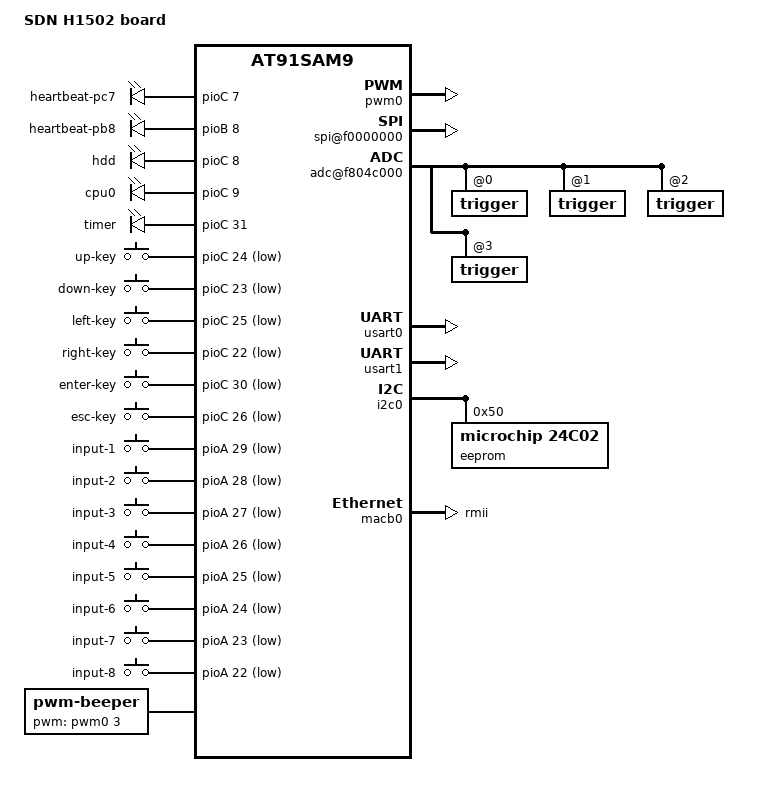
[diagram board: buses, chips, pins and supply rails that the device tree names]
/*
 * h1502.dts - Device Tree file for H1502 board
 *
 *  Copyright (C) 2012 Atmel,
 *                2012 Nicolas Ferre <nicolas.ferre@atmel.com>
 *
 * Licensed under GPLv2 or later.
 */
/dts-v1/;
#include "at91sam9g25.dtsi"
#include "at91sam9x5ek.dtsi"
#include <dt-bindings/input/linux-event-codes.h>

/ {
	model = "SDN H1502 board";
	compatible = "sdn,h1502", "atmel,at91sam9x5ek", "atmel,at91sam9x5", "atmel,at91sam9";

	aliases {
		/delete-property/i2c1;
		/delete-property/i2c2;
		/delete-property/ssc0;
		/delete-property/serial3;
		/delete-property/serial4;
	};

	/delete-node/sound;
        /delete-node/1wire_cm;
	//delete-node/i2c@0;
	//delete-node/i2c@1;
	//delete-node/i2c@2;
	/delete-node/i2c-gpio-0;
	/delete-node/i2c-gpio-1;
        /delete-node/i2c-gpio-2;



	leds {
		compatible = "gpio-leds";
		/delete-node/pb18;
		/delete-node/pd21;
		
		heartbeat-pc7 {
			label = "heartbeat-pc7";
			gpios = <&pioC 7 GPIO_ACTIVE_HIGH>;
			linux,default-trigger = "heartbeat";
		};
		heartbeat-pb8 {
			label = "heartbeat-pb8";
			gpios = <&pioB 8 GPIO_ACTIVE_HIGH>;
			linux,default-trigger = "heartbeat";
		};
		hdd {
			label = "hdd";
			gpios = <&pioC 8 GPIO_ACTIVE_HIGH>;
			linux,default-trigger = "nand-disk";
		};
		cpu0 {
                        label = "cpu0";
                        gpios = <&pioC 9 GPIO_ACTIVE_HIGH>;
                        linux,default-trigger = "cpu0";
                };

		timer {
                        label = "timer";
                        gpios = <&pioC 31 GPIO_ACTIVE_HIGH>;
                        linux,default-trigger = "timer";
		};    
	};

	buttons {
		compatible = "gpio-keys";

		up {
			label = "up-key";
			gpios = <&pioC 24 GPIO_ACTIVE_LOW>;
			linux,code = <KEY_UP>;
			debounce-interval = <10>;
		};
		down {
			label = "down-key";
			gpios = <&pioC 23 GPIO_ACTIVE_LOW>;
			linux,code = <KEY_DOWN>;
			debounce-interval = <10>;
		};
		left {
                        label = "left-key";
                        gpios = <&pioC 25 GPIO_ACTIVE_LOW>;
                        linux,code = <KEY_LEFT>;
			debounce-interval = <10>;
                };
		right {
                        label = "right-key";
                        gpios = <&pioC 22 GPIO_ACTIVE_LOW>;
                        linux,code = <KEY_RIGHT>;
			debounce-interval = <10>;
                };
		enter {
                        label = "enter-key";
                        gpios = <&pioC 30 GPIO_ACTIVE_LOW>;
                        linux,code = <KEY_ENTER>;
			debounce-interval = <10>;
                };
		esc {
                        label = "esc-key";
                        gpios = <&pioC 26 GPIO_ACTIVE_LOW>;
                        linux,code = <KEY_ESC>;
			debounce-interval = <10>;
                };
	};

	inputs {
		compatible = "gpio-keys";
		
		input1 {
			label = "input-1";
			gpios = <&pioA 29 GPIO_ACTIVE_LOW>;
			linux,code = <KEY_1>;
			debounce-interval = <10>;
		};
		input2 {
                        label = "input-2";
                        gpios = <&pioA 28 GPIO_ACTIVE_LOW>;
                        linux,code = <KEY_2>;
                        debounce-interval = <10>;
                };
		input3 {
                        label = "input-3";
                        gpios = <&pioA 27 GPIO_ACTIVE_LOW>;
                        linux,code = <KEY_3>;
                        debounce-interval = <10>;
                };
		input4 {
                        label = "input-4";
                        gpios = <&pioA 26 GPIO_ACTIVE_LOW>;
                        linux,code = <KEY_4>;
                        debounce-interval = <10>;
                };
		input5 {
                        label = "input-5";
                        gpios = <&pioA 25 GPIO_ACTIVE_LOW>;
                        linux,code = <KEY_5>;
                        debounce-interval = <10>;
                };
		input6 {
                        label = "input-6";
                        gpios = <&pioA 24 GPIO_ACTIVE_LOW>;
                        linux,code = <KEY_6>;
                        debounce-interval = <10>;
                };
		input7 {
                        label = "input-7";
                        gpios = <&pioA 23 GPIO_ACTIVE_LOW>;
                        linux,code = <KEY_7>;
                        debounce-interval = <10>;
                };
		input8 {
                        label = "input-8";
                        gpios = <&pioA 22 GPIO_ACTIVE_LOW>;
                        linux,code = <KEY_8>;
                        debounce-interval = <10>;
                };
	};

	relays {
		//compatible = "gpio-leds";
		relay1 {
			label = "relay1";
			gpios = <&pioC 17 GPIO_ACTIVE_HIGH>;
			//line-name = "relay1";
			//output-low;
			//gpio-hog;
		};
		relay2 {
                        label = "relay2";
                        gpios = <&pioC 16 GPIO_ACTIVE_HIGH>;
                };
		relay3 {
                        label = "relay3";
                        gpios = <&pioC 15 GPIO_ACTIVE_HIGH>;
                };
		relay4 {
                        label = "relay4";
                        gpios = <&pioC 14 GPIO_ACTIVE_HIGH>;
                };
		relay5 {
                        label = "relay5";
                        gpios = <&pioC 19 GPIO_ACTIVE_HIGH>;
                };
		relay6 {
                        label = "relay6";
                        gpios = <&pioC 20 GPIO_ACTIVE_HIGH>;
                };
		relay7 {
                        label = "relay7";
                        gpios = <&pioC 12 GPIO_ACTIVE_HIGH>;
                };
		relay8 {
                        label = "relay8";
                        gpios = <&pioC 13 GPIO_ACTIVE_HIGH>;
                };
	};

	pwm-beeper {
		compatible = "pwm-beeper";
		pwms = <&pwm0 3 1000000 1>; // 1kHz
		//pinctrl-names = "default";
		//pinctrl-0 = <&pinctrl_pwm0_pwm3_1>;
	};

	//backlight {
	//	compatible = "pwm-backlight";
	//	pwms = <&pwm0 0 1000000 1>; // 1khz
	//	brightness-levels = <0 4 8 16 32 64 128 255>;
	//	default-brightness-level = <6>;
	//};

	ahb {
		apb {
			/delete-node/isi@f8048000;
			/delete-node/ssc@f0010000;
			/delete-node/mmc@f000c000;
			/delete-node/serial@f8024000;
			/delete-node/i2c@f8014000;
			/delete-node/i2c@f8018000;
			/delete-node/serial@f8040000;
			/delete-node/serial@f8044000;
			/delete-node/spi@f0004000;
			/delete-node/serial@f8028000;			

			pinctrl@fffff400 {
				/delete-node/ssc0;
				/delete-node/i2c1;
				/delete-node/i2c2;
				/delete-node/isi;
				/delete-node/usart3;
				/delete-node/mmc1;
				/delete-node/spi1;
				/delete-node/i2c_gpio0;
				/delete-node/i2c_gpio1;
				/delete-node/i2c_gpio2;
				/delete-node/1wire_cm;
				/delete-node/camera_sensor;
			};

			shdwc@fffffe10 {
				//atmel,wakeup-mode = "any";
				atmel,wakeup-rtc-timer;
			};

			pwm0: pwm@f8034000 {
				status = "okay";
				//#pwm-cells = <3>;
				pinctrl-names = "default";
				pinctrl-0 = <&pinctrl_pwm0_pwm0_2 /* PC18 */
					     &pinctrl_pwm0_pwm1_2 /* PC19 */
					     &pinctrl_pwm0_pwm2_1 /* PC20 */
					     &pinctrl_pwm0_pwm3_1>; /* PC21 */
			};

			spi@f0000000 {
				status = "okay";
				cs-gpios = <&pioA 14 GPIO_ACTIVE_HIGH>;
				
				/delete-node/m25p80@0;

				/*
				st7565: st7565@0{
					compatible = "sitronix,st7565";
					reg = <0>;				
					spi-max-frequency = <16000000>;
					buswidth = <8>;
					dc-gpios = <&pioC 6 GPIO_ACTIVE_HIGH>;
					reset-gpios = <&pioC 5 GPIO_ACTIVE_HIGH>;
					led-gpios = <&pioC 18 GPIO_ACTIVE_HIGH>;
					debug = <0>;
					verbose = <3>;
				};
				*/	
			};

			adc@f804c000 {
				/delete-property/atmel,adc-ts-wires;
				/delete-property/atmel,adc-ts-pressure-threshold;	

				trigger@0 {
					trigger-name = "external-any";
				};

				trigger@1 {
                                        trigger-name = "external-any";
                                };

				trigger@2 {
                                        trigger-name = "external-any";
                                };
				
				trigger@3 {
                                        trigger-name = "external-any";
                                };
			};

			mmc@f0008000 {
				slot@0 {
					cd-gpios = <&pioA 21 GPIO_ACTIVE_HIGH>;
				};
			};

			/* /dev/ttyS1 RS485 */
			usart0: serial@f801c000 {
				status = "okay";
				pinctrl-0 = <&pinctrl_usart0 
					     &pinctrl_usart0_rts 
					     &pinctrl_usart0_cts>;
				linux,rs485-enabled-at-boot-time;
				rs485-rts-delay = <0 0>;
			};

			/* /dev/ttyS2 */
			usart1: serial@f8020000 {
				status = "okay";
				pinctrl-0 = <&pinctrl_usart1 
					     &pinctrl_usart1_rts 
					     &pinctrl_usart1_cts>;
			};

			i2c0: i2c@f8010000 {
				eeprom@0x50 {
					compatible = "microchip,24c02";
					reg = <0x50>;
					pagesize = <16>;
				};

				/delete-node/camera@0x30;				
				/delete-node/wm8731@1a;
			};

			macb0: ethernet@f802c000 {
				phy-mode = "rmii";
				status = "okay";
			};

		};
	};
};

